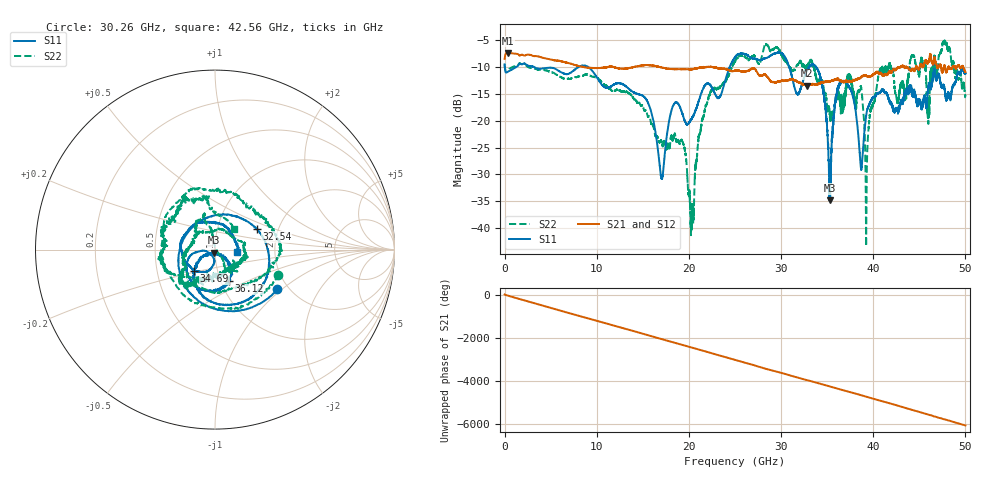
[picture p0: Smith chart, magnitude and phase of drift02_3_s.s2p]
!Created with skrf (http://scikit-rf.org).
# Hz S RI R 50.0
!freq ReS11 ImS11 ReS21 ImS21 ReS12 ImS12 ReS22 ImS22
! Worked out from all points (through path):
!   10001 points, 300 kHz to 50 GHz, reference 50 ohm
!   highest |S21| = -7.32 dB at 325.3 MHz (marker M1); lowest = -13.4 dB at 32.76 GHz (marker M2)
!   group delay of S21, straight-line fit = 335 ps
!   lowest |S11| = -34.9 dB at 35.26 GHz (marker M3), VSWR 1.04, Z = 49.4 - j1.68 ohm
!   |S11| at or under -10 dB: 3.236 GHz to 8.019 GHz (4.782 GHz wide, 85 % of centre); 9.102 GHz to 24.41 GHz (15.31 GHz wide, 91.4 % of centre); 33.82 GHz to end of sweep (the widest 3 of 8)
!   |S22| runs from -43.4 to -5.0 dB; largest |S21 - S12| = 0.015
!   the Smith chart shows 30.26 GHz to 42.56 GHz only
!   S11 on the Smith chart (normalised r, x): 30.26 GHz: 1.75, -0.93; 32.54 GHz: 1.55, +0.38; 34.69 GHz: 0.77, -0.19; 36.12 GHz: 1.09, -0.40; 42.56 GHz: 1.28, -0.03
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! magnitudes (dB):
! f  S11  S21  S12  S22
! 300 kHz  -9.5  -8.5  -8.4  -9.5
! 325.3 MHz  -10.9  -7.3  -7.3  -10.6
! 8.335 GHz  -9.7  -9.9  -9.9  -11.6
! 15.22 GHz  -15.7  -9.6  -9.6  -18.2
! 16.67 GHz  -26.0  -9.9  -9.9  -23.5
! 19.34 GHz  -18.9  -10.4  -10.4  -24.1
! 20.34 GHz  -19.5  -10.3  -10.3  -37.4
! 21.93 GHz  -13.1  -10.0  -10.0  -17.0
! 25 GHz  -8.2  -10.7  -10.7  -8.9
! 30.26 GHz  -7.7  -12.6  -12.7  -8.5
! 32.54 GHz  -11.7  -13.2  -13.4  -10.0
! 32.76 GHz  -10.8  -13.4  -13.4  -9.9
! 33.34 GHz  -9.6  -13.2  -13.2  -8.9
! 34.69 GHz  -15.5  -12.7  -12.7  -14.6
! 35.26 GHz  -34.9  -12.6  -12.6  -18.5
! 36.12 GHz  -14.3  -12.1  -12.2  -15.2
! 38.59 GHz  -27.3  -12.0  -12.0  -13.8
! 39.3 GHz  -18.3  -11.6  -11.6  -30.2
! 41.67 GHz  -16.0  -11.0  -11.1  -9.6
! 42.56 GHz  -18.1  -10.2  -10.1  -16.1
! 47.75 GHz  -14.0  -9.6  -9.7  -5.4
! 50 GHz  -11.2  -10.9  -10.9  -15.3
